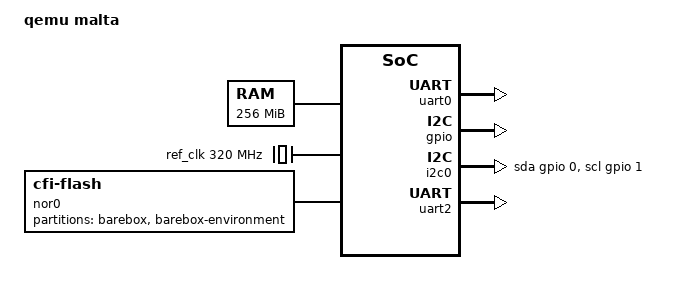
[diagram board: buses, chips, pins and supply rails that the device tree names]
/dts-v1/;

/ {
	model = "qemu malta";
	compatible = "qemu,malta";

	#address-cells = <1>;
	#size-cells = <1>;

	chosen {
		stdout-path = &uart0;

		environment {
			compatible = "barebox,environment";
			device-path = &env_nor;
		};
	};

	memory@0 {
		device_type = "memory";
		reg = <0x00000000 0x10000000>;
	};

	clocks {
		ref_clk: ref_clk {
			#clock-cells = <0>;
			compatible = "fixed-clock";
			clock-frequency = <320000000>;
		};
	};

	cpus {
		#address-cells = <1>;
		#size-cells = <0>;

		cpu@0 {
			device_type = "cpu";
			compatible = "mips,mips24Kf";
			clocks = <&ref_clk>;
			reg = <0>;
		};
	};

	uart0: serial@180003f8 {
		compatible = "ns16550a";
		reg = <0x180003f8 0x08>;
		reg-shift = <0>;
		/* no matter for emulated port */
		clock-frequency = <1843200>;
	};

	fpga_regs: system-controller@1f000000 {
		compatible = "mti,malta-fpga", "syscon", "simple-mfd";
		reg = <0x1f000000 0x600>;
		native-endian;

		reboot {
			compatible = "syscon-reboot";
			regmap = <&fpga_regs>;
			offset = <0x500>;
			mask = <0x42>;
		};
	};

	gpio: gpio@1f000b00 {
		compatible = "mti,malta-fpga-i2c-gpio";
		gpio-controller;
		reg = <0x1f000b00 0x20>;
		#gpio-cells = <2>;
	};

	i2c0: i2c0 {
		compatible = "i2c-gpio";
		gpios = <&gpio 0 0 /* sda */
			&gpio 1 0 /* scl */
			>;
		i2c-gpio,sda-open-drain;
		i2c-gpio,scl-open-drain;
		#address-cells = <1>;
		#size-cells = <0>;
		status = "disabled";
	};

	uart2: serial@1f000900 {
		compatible = "ns16550a";
		reg = <0x1f000900 0x40>;
		reg-shift = <3>;
		/* no matter for emulated port */
		clock-frequency = <1843200>;
	};

	nor0: flash@1e000000 {
		#address-cells = <1>;
		#size-cells = <1>;
		compatible = "cfi-flash";
		reg = <0x1e000000 0x00400000>;

		partition@0 {
			label = "barebox";
			reg = <0 0x80000>;
			read-only;
		};

		env_nor: partition@80000 {
			label = "barebox-environment";
			reg = <0x80000 0x10000>;
		};
	};
};

&i2c0 {
	status = "okay";
};
